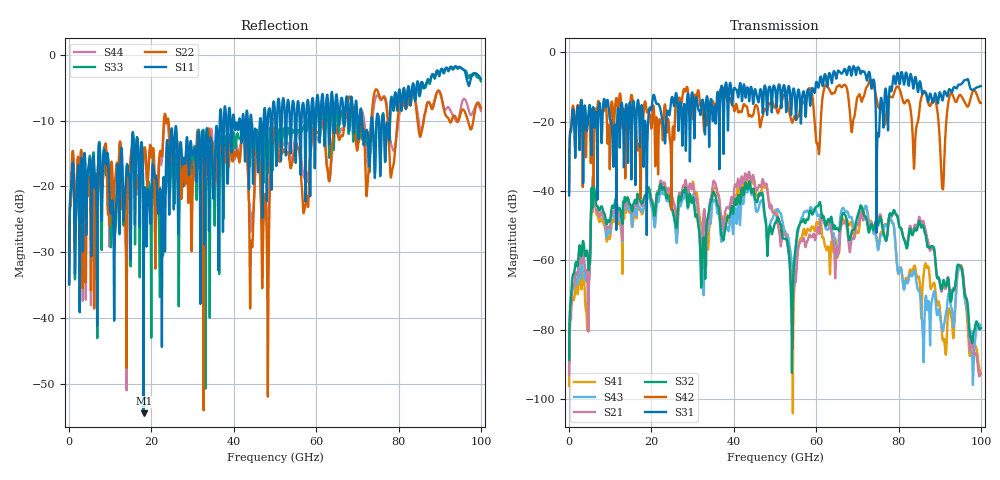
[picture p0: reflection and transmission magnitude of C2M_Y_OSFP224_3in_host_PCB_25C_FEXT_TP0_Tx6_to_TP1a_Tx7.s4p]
# GHz S RI R 45
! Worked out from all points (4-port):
!   4000 points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, 25 MHz to 100 GHz, reference 45 ohm
!   strongest paths, dB at 25 MHz, 25.02 GHz, 50.02 GHz, 75.03 GHz, 100 GHz:
!     S31: -41.3, -12.9, -10.5, -23.3, -9.8
!     S42: -40.4, -26.7, -15.9, -15.6, -14.6
!     S32: -88.8, -44.8, -49.2, -50.0, -79.5
!     S21: -93.0, -41.4, -46.5, -48.8, -92.6
!     S43: -93.0, -45.7, -46.0, -57.0, -79.0
!     S41: -96.2, -42.0, -45.6, -55.9, -92.7
!   lowest |S11| = -54.5 dB at 18.12 GHz (marker M1), VSWR 1.00, Z = 44.8 - j0.045 ohm
!   |S11| at or under -10 dB: start of sweep to 36.6 GHz; 44.32 GHz to 46.35 GHz (2.031 GHz wide, 4.48 % of centre); 71.17 GHz to 73.37 GHz (2.201 GHz wide, 3.05 % of centre) (the widest 3 of 34)
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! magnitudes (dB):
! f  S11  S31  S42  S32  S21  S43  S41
! 25 MHz  -34.9  -41.3  -40.4  -88.8  -93.0  -93.0  -96.2
! 5.85 GHz  -15.5  -15.9  -22.2  -35.7  -36.1  -35.9  -36.2
! 18.12 GHz  -54.5  -32.4  -17.0  -42.3  -43.1  -44.3  -45.1
! 47.52 GHz  -8.1  -9.6  -16.3  -46.9  -38.4  -48.0  -39.1
! 54.1 GHz  -8.8  -14.4  -20.2  -87.4  -68.8  -61.6  -69.5
! 85.35 GHz  -5.0  -9.0  -14.1  -49.9  -48.8  -70.9  -71.4
! 100 GHz  -3.6  -9.8  -14.6  -79.5  -92.6  -79.0  -92.7
